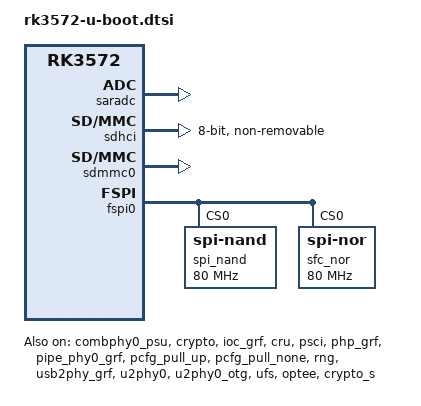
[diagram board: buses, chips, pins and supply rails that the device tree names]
// SPDX-License-Identifier: (GPL-2.0+ OR MIT)
/*
 * Copyright (c) 2025 Rockchip Electronics Co., Ltd.
 */

#include <dt-bindings/input/input.h>
#include "rockchip-u-boot.dtsi"

/ {
	aliases {
		mmc0 = &sdhci;
		mmc1 = &sdmmc0;
	};

	chosen {
		u-boot,spl-boot-order = &sdmmc0, "same-as-spl", &sdhci, &spi_nand, &spi_nor;
	};

	dmc {
		compatible = "rockchip,rk3572-dmc";
		bootph-all;
		status = "okay";
	};

	secure-otp@2a400000 {
		bootph-all;
		compatible = "rockchip,rk3572-secure-otp";
		mask_addr = <0x2a420000>;
		reg = <0x0 0x2a400000 0x0 0x4000>;
	};

	crypto_s: crypto_s@2a190000 {
		compatible = "rockchip,crypto-ce";
		reg = <0x0 0x2a190000 0x0 0x2000>;
		secure;
		interrupts = <GIC_SPI 166 IRQ_TYPE_LEVEL_HIGH>;
		clocks = <&cru ACLK_CRYPTO_NS>, <&cru HCLK_CRYPTO_NS>, <&cru CLK_PKA_CRYPTO_NS>;
		clock-names = "aclk", "hclk", "pka";
		resets = <&cru SRST_HRESETN_CRYPTO_NS>;
		reset-names = "crypto-rst";
		status = "disabled";
	};
};

&combphy0_psu {
	bootph-all;
	status = "okay";
};

&crypto {
	bootph-all;
	status = "okay";
};

&crypto_s {
	bootph-all;
	status = "okay";
};

&firmware {
	bootph-all;
};

&gpio0 {
	bootph-all;
	status = "okay";
};

&gpio1 {
	bootph-all;
	status = "okay";
};

&gpio2 {
	bootph-all;
	status = "okay";
};

&gpio3 {
	bootph-all;
	status = "okay";
};

&gpio4 {
	bootph-all;
	status = "okay";
};

&ioc_grf {
	bootph-all;
	status = "okay";
};

&cru {
	bootph-all;
	status = "okay";
};

&psci {
	bootph-all;
	status = "okay";
};

&php_grf {
	bootph-all;
	status = "okay";
};

&pinctrl {
	bootph-all;
	status = "okay";
};

&pipe_phy0_grf {
	bootph-all;
	status = "okay";
};

&pcfg_pull_up {
	bootph-all;
	status = "okay";
};

&pcfg_pull_none {
	bootph-all;
	status = "okay";
};

&saradc {
	bootph-all;
	status = "okay";
};

&scmi {
	bootph-all;
};

&scmi_clk {
	bootph-all;
};

&scmi_shmem {
	bootph-all;
};

&sdhci {
	bootph-all;
	bus-width = <8>;
	mmc-hs400-1_8v;
	mmc-hs400-enhanced-strobe;
	no-sd;
	no-sdio;
	non-removable;
	u-boot,spl-fifo-mode;
	status = "okay";
};

&sdmmc0 {
	bootph-all;
	u-boot,spl-fifo-mode;
	status = "okay";
};

&fspi0 {
	bootph-all;
	status = "okay";

	#address-cells = <1>;
	#size-cells = <0>;
	spi_nand: flash@0 {
		bootph-all;
		compatible = "spi-nand";
		reg = <0>;
		spi-tx-bus-width = <1>;
		spi-rx-bus-width = <4>;
		spi-max-frequency = <80000000>;
	};

	spi_nor: flash@1 {
		bootph-all;
		compatible = "jedec,spi-nor";
		label = "sfc_nor";
		reg = <0>;
		spi-tx-bus-width = <8>;
		spi-rx-bus-width = <8>;
		spi-max-frequency = <80000000>;
	};
};

&rng {
	bootph-all;
	status = "okay";
};

&usb2phy_grf {
	bootph-all;
	status = "okay";
};

&u2phy0 {
	bootph-all;
	status = "okay";
};

&u2phy0_otg {
	bootph-all;
	status = "okay";
};

&ufs {
	bootph-all;
	status = "okay";
};

&optee {
	bootph-all;
	status = "okay";
};
